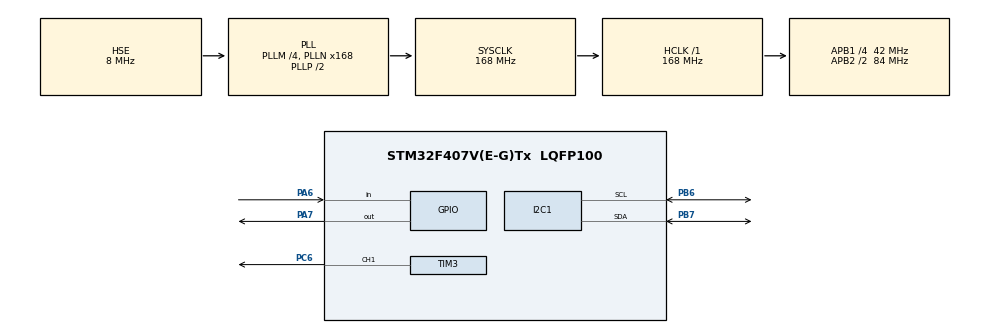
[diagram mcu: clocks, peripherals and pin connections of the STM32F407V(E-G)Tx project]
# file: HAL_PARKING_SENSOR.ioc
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Mcu.Family=STM32F4
Mcu.Name=STM32F407V(E-G)Tx
Mcu.Package=LQFP100
NVIC.PriorityGroup=NVIC_PRIORITYGROUP_4
PA6.Signal=GPIO_Input
PA7.GPIO_Speed=GPIO_SPEED_FREQ_VERY_HIGH
PA7.Signal=GPIO_Output
PB6.Mode=I2C
PB6.Signal=I2C1_SCL
PB7.Mode=I2C
PB7.Signal=I2C1_SDA
PC6.Signal=S_TIM3_CH1
PH0-OSC_IN.Mode=HSE-External-Oscillator
PH0-OSC_IN.Signal=RCC_OSC_IN
PH1-OSC_OUT.Mode=HSE-External-Oscillator
PH1-OSC_OUT.Signal=RCC_OSC_OUT
ProjectManager.HeapSize=0x200
ProjectManager.StackSize=0x400
ProjectManager.TargetToolchain=STM32CubeIDE
RCC.48MHZClocksFreq_Value=84000000
RCC.AHBFreq_Value=168000000
RCC.APB1CLKDivider=RCC_HCLK_DIV4
RCC.APB1Freq_Value=42000000
RCC.APB1TimFreq_Value=84000000
RCC.APB2CLKDivider=RCC_HCLK_DIV2
RCC.APB2Freq_Value=84000000
RCC.APB2TimFreq_Value=168000000
RCC.CortexFreq_Value=168000000
RCC.HCLKFreq_Value=168000000
RCC.HSE_VALUE=8000000
RCC.HSI_VALUE=16000000
RCC.LSE_VALUE=32768
RCC.PLLM=4
RCC.PLLN=168
RCC.PLLSourceVirtual=RCC_PLLSOURCE_HSE
RCC.SYSCLKFreq_VALUE=168000000
RCC.SYSCLKSource=RCC_SYSCLKSOURCE_PLLCLK
RCC.VCOOutputFreq_Value=336000000
SH.S_TIM3_CH1.0=TIM3_CH1,PWM Generation1 CH1
TIM2.Period=0xFFFF
TIM2.Prescaler=83
TIM3.Channel-PWM\ Generation1\ CH1=TIM_CHANNEL_1
TIM3.Period=8399
TIM3.Prescaler=19999
TIM3.Pulse-PWM\ Generation1\ CH1=4199
VP_TIM2_VS_ClockSourceINT.Mode=Internal
VP_TIM3_VS_ClockSourceINT.Mode=Internal
board=custom

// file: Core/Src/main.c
/* USER CODE BEGIN Header */
/**
  ******************************************************************************
  * @file           : main.c
  * @brief          : Main program body
  ******************************************************************************
  * @attention
  *
  * Copyright (c) 2024 STMicroelectronics.
  * All rights reserved.
  *
  * This software is licensed under terms that can be found in the LICENSE file
  * in the root directory of this software component.
  * If no LICENSE file comes with this software, it is provided AS-IS.
  *
  ******************************************************************************
  */
/* USER CODE END Header */
#include "main.h"

/* USER CODE BEGIN Includes */
#include "ssd1306_conf_template.h"
#include "ssd1306.h"
#include "ssd1306_fonts.h"
#include "stdio.h"
#include <string.h>
/* USER CODE END Includes */

I2C_HandleTypeDef hi2c1;

TIM_HandleTypeDef htim2;
TIM_HandleTypeDef htim3;

void SystemClock_Config(void);
static void MX_GPIO_Init(void);
static void MX_I2C1_Init(void);
static void MX_TIM2_Init(void);
static void MX_TIM3_Init(void);

/* USER CODE BEGIN 0 */
uint16_t distance, last_distance;
uint32_t sensor_time;
char data[20];
void delay_us(uint32_t us) {
    __HAL_TIM_SET_COUNTER(&htim2, 0);
   while (__HAL_TIM_GET_COUNTER(&htim2)<us );
}

uint16_t read_hcsr04()
{
	uint32_t local_time=0;
	HAL_GPIO_WritePin(GPIOA, GPIO_PIN_7, SET);
	delay_us(10);
	HAL_GPIO_WritePin(GPIOA, GPIO_PIN_7, RESET);

	while((HAL_GPIO_ReadPin(GPIOA, GPIO_PIN_6))==GPIO_PIN_RESET);
	while(HAL_GPIO_ReadPin(GPIOA, GPIO_PIN_6))
	{
		local_time++;
		delay_us(1);
	}
	return local_time;
}

void display(uint16_t dist)
{

	  if(last_distance!= dist)
	  {
	  ssd1306_SetCursor(71, 20);
	  ssd1306_WriteString("    ", Font_7x10, Black);
	  ssd1306_UpdateScreen();
	  ssd1306_SetCursor(1, 20);
	  sprintf(data, "Distance: %u",dist);
	  ssd1306_WriteString(data, Font_7x10, Black);
	  ssd1306_UpdateScreen();
	  }
	  else
	  {
		  ssd1306_SetCursor(1, 20);
		  sprintf(data, "Distance: %u",dist);
		  ssd1306_WriteString(data, Font_7x10, Black);
		  ssd1306_UpdateScreen();
	  }
	  last_distance= dist;
}

float map_frequency(uint16_t value, float in_min, float in_max, float out_min, float out_max) {
    float float_value = (float)value;
    return (float_value - in_min) * (out_max - out_min) / (in_max - in_min) + out_min;
}

void buzzer_config(uint16_t distance_buzzer)
{
	if(distance_buzzer>40)
	{
		__HAL_TIM_SET_PRESCALER(&htim3, 19999);
	}
	else
	{
	float frequency=map_frequency(distance_buzzer, 1, 40, 10, 1);
	uint16_t prescaler=(10000/frequency)-1;
	__HAL_TIM_SET_PRESCALER(&htim3, prescaler);
	}
}
/* USER CODE END 0 */

int main(void)
{

  /* MCU Configuration--------------------------------------------------------*/

  /* Reset of all peripherals, Initializes the Flash interface and the Systick. */
  HAL_Init();

  /* Configure the system clock */
  SystemClock_Config();

  /* Initialize all configured peripherals */
  MX_GPIO_Init();
  MX_I2C1_Init();
  MX_TIM2_Init();
  MX_TIM3_Init();
  /* USER CODE BEGIN 2 */
  HAL_TIM_Base_Start(&htim2);
  ssd1306_Init();
  ssd1306_Fill(White);
  ssd1306_UpdateScreen();
  HAL_TIM_PWM_Start(&htim3, TIM_CHANNEL_1);

  /* USER CODE END 2 */

  /* Infinite loop */
  while (1)
  {

    /* USER CODE BEGIN 3 */
	  sensor_time=read_hcsr04();
	  distance=sensor_time/58;
	  buzzer_config(distance);
	  display(distance);
	  HAL_Delay(60);

  }
  /* USER CODE END 3 */
}

void SystemClock_Config(void)
{
  RCC_OscInitTypeDef RCC_OscInitStruct = {0};
  RCC_ClkInitTypeDef RCC_ClkInitStruct = {0};

  /** Configure the main internal regulator output voltage
  */
  __HAL_RCC_PWR_CLK_ENABLE();
  __HAL_PWR_VOLTAGESCALING_CONFIG(PWR_REGULATOR_VOLTAGE_SCALE1);

  /** Initializes the RCC Oscillators according to the specified parameters
  * in the RCC_OscInitTypeDef structure.
  */
  RCC_OscInitStruct.OscillatorType = RCC_OSCILLATORTYPE_HSE;
  RCC_OscInitStruct.HSEState = RCC_HSE_ON;
  RCC_OscInitStruct.PLL.PLLState = RCC_PLL_ON;
  RCC_OscInitStruct.PLL.PLLSource = RCC_PLLSOURCE_HSE;
  RCC_OscInitStruct.PLL.PLLM = 4;
  RCC_OscInitStruct.PLL.PLLN = 168;
  RCC_OscInitStruct.PLL.PLLP = RCC_PLLP_DIV2;
  RCC_OscInitStruct.PLL.PLLQ = 4;
  if (HAL_RCC_OscConfig(&RCC_OscInitStruct) != HAL_OK)
  {
    Error_Handler();
  }

  /** Initializes the CPU, AHB and APB buses clocks
  */
  RCC_ClkInitStruct.ClockType = RCC_CLOCKTYPE_HCLK|RCC_CLOCKTYPE_SYSCLK
                              |RCC_CLOCKTYPE_PCLK1|RCC_CLOCKTYPE_PCLK2;
  RCC_ClkInitStruct.SYSCLKSource = RCC_SYSCLKSOURCE_PLLCLK;
  RCC_ClkInitStruct.AHBCLKDivider = RCC_SYSCLK_DIV1;
  RCC_ClkInitStruct.APB1CLKDivider = RCC_HCLK_DIV4;
  RCC_ClkInitStruct.APB2CLKDivider = RCC_HCLK_DIV2;

  if (HAL_RCC_ClockConfig(&RCC_ClkInitStruct, FLASH_LATENCY_5) != HAL_OK)
  {
    Error_Handler();
  }
}

static void MX_I2C1_Init(void)
{

  hi2c1.Instance = I2C1;
  hi2c1.Init.ClockSpeed = 100000;
  hi2c1.Init.DutyCycle = I2C_DUTYCYCLE_2;
  hi2c1.Init.OwnAddress1 = 0;
  hi2c1.Init.AddressingMode = I2C_ADDRESSINGMODE_7BIT;
  hi2c1.Init.DualAddressMode = I2C_DUALADDRESS_DISABLE;
  hi2c1.Init.OwnAddress2 = 0;
  hi2c1.Init.GeneralCallMode = I2C_GENERALCALL_DISABLE;
  hi2c1.Init.NoStretchMode = I2C_NOSTRETCH_DISABLE;
  if (HAL_I2C_Init(&hi2c1) != HAL_OK)
  {
    Error_Handler();
  }

}

static void MX_TIM2_Init(void)
{

  TIM_ClockConfigTypeDef sClockSourceConfig = {0};
  TIM_MasterConfigTypeDef sMasterConfig = {0};

  htim2.Instance = TIM2;
  htim2.Init.Prescaler = 83;
  htim2.Init.CounterMode = TIM_COUNTERMODE_UP;
  htim2.Init.Period = 0xFFFF;
  htim2.Init.ClockDivision = TIM_CLOCKDIVISION_DIV1;
  htim2.Init.AutoReloadPreload = TIM_AUTORELOAD_PRELOAD_DISABLE;
  if (HAL_TIM_Base_Init(&htim2) != HAL_OK)
  {
    Error_Handler();
  }
  sClockSourceConfig.ClockSource = TIM_CLOCKSOURCE_INTERNAL;
  if (HAL_TIM_ConfigClockSource(&htim2, &sClockSourceConfig) != HAL_OK)
  {
    Error_Handler();
  }
  sMasterConfig.MasterOutputTrigger = TIM_TRGO_RESET;
  sMasterConfig.MasterSlaveMode = TIM_MASTERSLAVEMODE_DISABLE;
  if (HAL_TIMEx_MasterConfigSynchronization(&htim2, &sMasterConfig) != HAL_OK)
  {
    Error_Handler();
  }

}

static void MX_TIM3_Init(void)
{

  TIM_ClockConfigTypeDef sClockSourceConfig = {0};
  TIM_MasterConfigTypeDef sMasterConfig = {0};
  TIM_OC_InitTypeDef sConfigOC = {0};

  htim3.Instance = TIM3;
  htim3.Init.Prescaler = 19999;
  htim3.Init.CounterMode = TIM_COUNTERMODE_UP;
  htim3.Init.Period = 8399;
  htim3.Init.ClockDivision = TIM_CLOCKDIVISION_DIV1;
  htim3.Init.AutoReloadPreload = TIM_AUTORELOAD_PRELOAD_DISABLE;
  if (HAL_TIM_Base_Init(&htim3) != HAL_OK)
  {
    Error_Handler();
  }
  sClockSourceConfig.ClockSource = TIM_CLOCKSOURCE_INTERNAL;
  if (HAL_TIM_ConfigClockSource(&htim3, &sClockSourceConfig) != HAL_OK)
  {
    Error_Handler();
  }
  if (HAL_TIM_PWM_Init(&htim3) != HAL_OK)
  {
    Error_Handler();
  }
  sMasterConfig.MasterOutputTrigger = TIM_TRGO_RESET;
  sMasterConfig.MasterSlaveMode = TIM_MASTERSLAVEMODE_DISABLE;
  if (HAL_TIMEx_MasterConfigSynchronization(&htim3, &sMasterConfig) != HAL_OK)
  {
    Error_Handler();
  }
  sConfigOC.OCMode = TIM_OCMODE_PWM1;
  sConfigOC.Pulse = 4199;
  sConfigOC.OCPolarity = TIM_OCPOLARITY_HIGH;
  sConfigOC.OCFastMode = TIM_OCFAST_DISABLE;
  if (HAL_TIM_PWM_ConfigChannel(&htim3, &sConfigOC, TIM_CHANNEL_1) != HAL_OK)
  {
    Error_Handler();
  }
  HAL_TIM_MspPostInit(&htim3);

}

static void MX_GPIO_Init(void)
{
  GPIO_InitTypeDef GPIO_InitStruct = {0};

  /* GPIO Ports Clock Enable */
  __HAL_RCC_GPIOH_CLK_ENABLE();
  __HAL_RCC_GPIOA_CLK_ENABLE();
  __HAL_RCC_GPIOC_CLK_ENABLE();
  __HAL_RCC_GPIOB_CLK_ENABLE();

  /*Configure GPIO pin Output Level */
  HAL_GPIO_WritePin(GPIOA, GPIO_PIN_7, GPIO_PIN_RESET);

  /*Configure GPIO pin : PA6 */
  GPIO_InitStruct.Pin = GPIO_PIN_6;
  GPIO_InitStruct.Mode = GPIO_MODE_INPUT;
  GPIO_InitStruct.Pull = GPIO_NOPULL;
  HAL_GPIO_Init(GPIOA, &GPIO_InitStruct);

  /*Configure GPIO pin : PA7 */
  GPIO_InitStruct.Pin = GPIO_PIN_7;
  GPIO_InitStruct.Mode = GPIO_MODE_OUTPUT_PP;
  GPIO_InitStruct.Pull = GPIO_NOPULL;
  GPIO_InitStruct.Speed = GPIO_SPEED_FREQ_VERY_HIGH;
  HAL_GPIO_Init(GPIOA, &GPIO_InitStruct);

}

void Error_Handler(void)
{
  __disable_irq();
  while (1)
  {
  }
}
